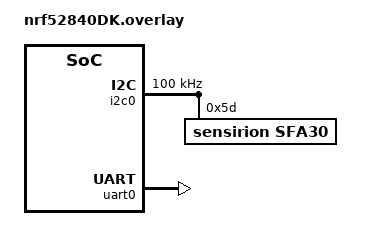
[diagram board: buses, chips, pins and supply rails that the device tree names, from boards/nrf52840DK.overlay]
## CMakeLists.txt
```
cmake_minimum_required(VERSION 3.20.0)

list(APPEND ZEPHYR_EXTRA_MODULES
  ${CMAKE_CURRENT_SOURCE_DIR}/drivers
)


find_package(Zephyr REQUIRED HINTS $ENV{ZEPHYR_BASE})

project(sfa30_sensor_driver)

target_sources(app PRIVATE src/main.c)
zephyr_include_directories(drivers)
```

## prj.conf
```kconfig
CONFIG_I2C=y
CONFIG_SENSOR=y
CONFIG_SFA30=y
CONFIG_CBPRINTF_FP_SUPPORT=y
CONFIG_RESET_ON_FATAL_ERROR=n
CONFIG_LOG=y
```

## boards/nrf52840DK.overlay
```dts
&i2c0 {
	status = "okay";
	clock-frequency = <I2C_BITRATE_STANDARD>;
	
	sfa30@5d {
		status = "okay";
		compatible = "sensirion,sfa30";
		reg = <0x5d>;
		model = "sfa30";
	};

};


&uart0 {
	status = "okay";
	hw-flow-control;
};

/ {
	/*
	* In some default configurations within the nRF Connect SDK,
	* e.g. on nRF52840, the chosen zephyr,entropy node is &cryptocell.
	* This devicetree overlay ensures that default is overridden wherever it
	* is set, as this application uses the RNG node for entropy exclusively.
	*/
	chosen {
		zephyr,entropy = &rng;
	};
};
```

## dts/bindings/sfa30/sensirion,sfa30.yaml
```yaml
description: Sensirion Formaldehyde sensor with ultra low cross-sensitivity to ethanol

compatible: "sensirion,sfa30"

include: i2c-device.yaml

properties:
  model:
    type: string
    required: true
    description: |
      The sensor model in use
    enum:
        - "sfa30"
```

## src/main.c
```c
#include <zephyr/kernel.h>
#include <zephyr/device.h>
#include <zephyr/drivers/sensor.h>
#include "sensor/sfa30/sfa30.h"

#if !DT_HAS_COMPAT_STATUS_OKAY(sensirion_sfa30)
#error "No sensirion,sfa30 compatible node found in the device tree"
#endif

const struct device *sfa30 = DEVICE_DT_GET_ANY(sensirion_sfa30);

int main(void)
{
        if (!device_is_ready(sfa30))
        {
                printk("Device not ready\n");
                return 1;
        }

        struct sensor_value temp, hum, hco;

        while (true)
        {
                sensor_sample_fetch(sfa30);
                sensor_channel_get(sfa30, SENSOR_CHAN_AMBIENT_TEMP, &temp);
                sensor_channel_get(sfa30, SENSOR_CHAN_HUMIDITY, &hum);
                sensor_channel_get(sfa30, SENSOR_CHAN_HCO, &hco);
                printk("temp from sensor %f\n", sensor_value_to_float(&temp));
                printk("hum from sensor %f\n", sensor_value_to_float(&hum));
                printk("hco from sensor %f\n", sensor_value_to_float(&hco));
                k_sleep(K_MSEC(6000));
        }


        return 0;
}
```
